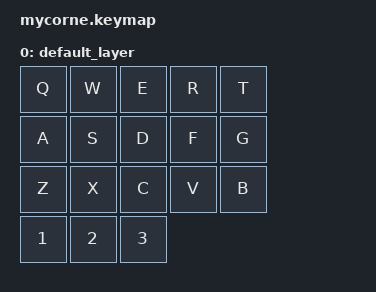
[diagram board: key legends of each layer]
#include <behaviors.dtsi>
#include <dt-bindings/zmk/keys.h>

/ {
    keymap {
        compatible = "zmk,keymap";

        /* Camada Principal (Default Layer) */
        default_layer {
            bindings = <
                &kp Q    &kp W    &kp E    &kp R    &kp T
                &kp A    &kp S    &kp D    &kp F    &kp G
                &kp Z    &kp X    &kp C    &kp V    &kp B
                &kp N1   &kp N2   &kp N3
            >;
        };
    };
};
